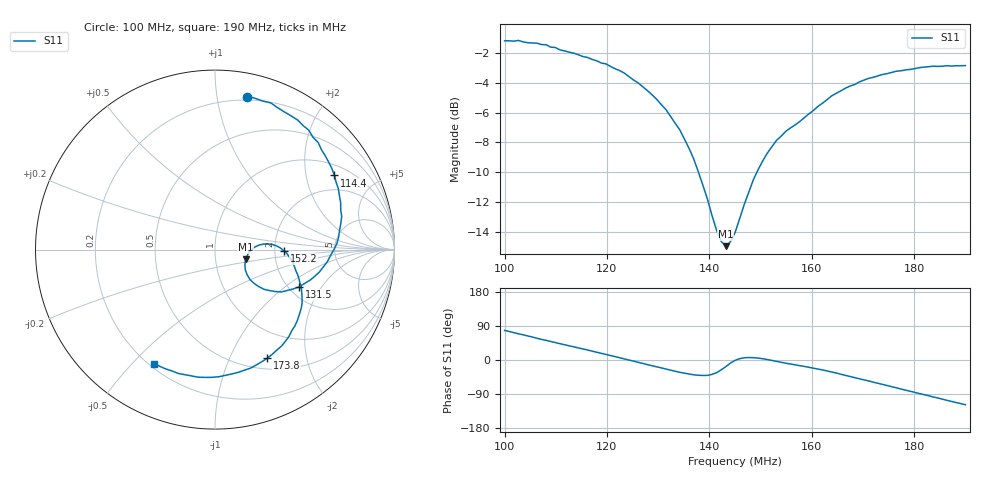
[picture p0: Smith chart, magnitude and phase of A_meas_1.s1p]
# HZ S RI R 50
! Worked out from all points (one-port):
!   101 points, 100 MHz to 190 MHz, reference 50 ohm
!   lowest |S11| = -15.0 dB at 143.2 MHz (marker M1), VSWR 1.44, Z = 70 - j7.86 ohm
!   |S11| at or under -10 dB: 137.9 MHz to 149.3 MHz (11.41 MHz wide, 7.95 % of centre)
!   S11 on the Smith chart (normalised r, x): 100 MHz: 0.17, +1.22; 114.4 MHz: 1.37, +2.92; 131.5 MHz: 2.27, -1.28; 152.2 MHz: 2.25, -0.04; 173.8 MHz: 0.63, -1.39; 190 MHz: 0.22, -0.58
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1e8  0.1805 0.8529
1.027e8  0.3113 0.8171
1.063e8  0.4616 0.7211
1.099e8  0.5749 0.5964
1.117e8  0.6146 0.5224
1.144e8  0.6653 0.4131
1.198e8  0.706 0.1846
1.225e8  0.6891 0.0708
1.279e8  0.58 -0.1265
1.315e8  0.4695 -0.207
1.342e8  0.3701 -0.236
1.369e8  0.2734 -0.2215
1.396e8  0.1957 -0.1677
1.414e8  0.1685 -0.1117
1.432e8  0.1703 -0.0543
1.45e8  0.1983 -0.00376
1.468e8  0.2452 0.0252
1.486e8  0.2973 0.0315
1.522e8  0.385 -0.00783
1.567e8  0.4443 -0.0992
1.63e8  0.485 -0.2676
1.675e8  0.4457 -0.4241
1.711e8  0.3722 -0.5362
1.738e8  0.291 -0.606
1.792e8  0.092 -0.6932
1.837e8  -0.0932 -0.7109
1.864e8  -0.2036 -0.6903
1.9e8  -0.3382 -0.6358
